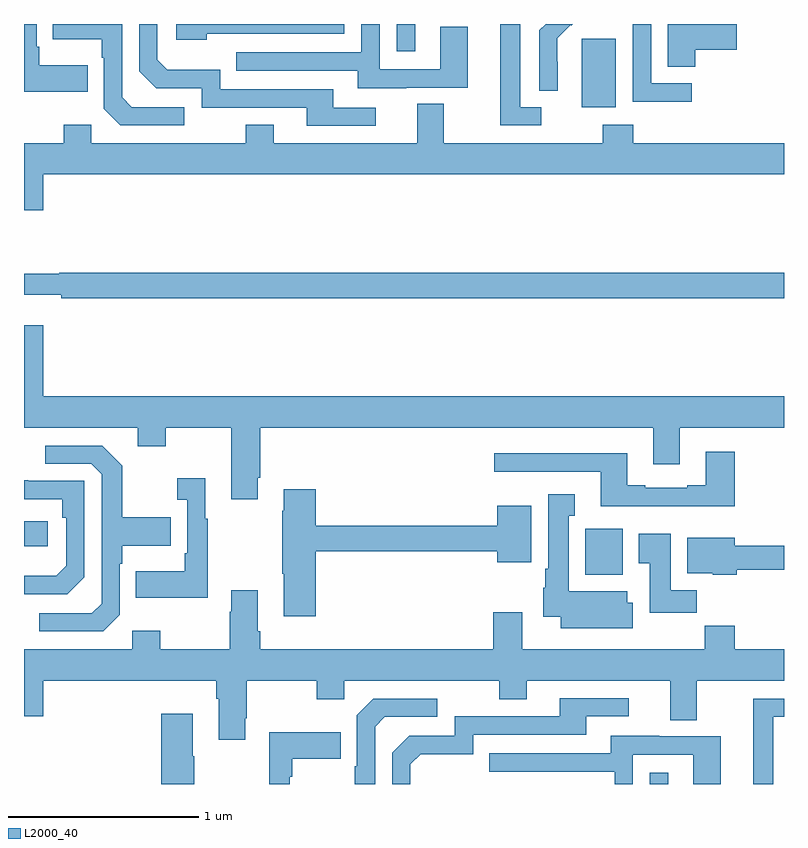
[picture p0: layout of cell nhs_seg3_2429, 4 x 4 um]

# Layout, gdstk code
import gdstk
lib = gdstk.Library(unit=1e-6, precision=1e-09)
def R(c, l, rs):  # rectangles x0, y0, x1, y1
    for r in rs: c.add(gdstk.rectangle(r[:2], r[2:], *l))
def P(c, l, *ps):  # polygons
    for p in ps: c.add(gdstk.Polygon(p, *l))
L2000_40 = (2000, 40)

nhs_seg3_2429 = lib.new_cell('nhs_seg3_2429')
R(nhs_seg3_2429, L2000_40, [(240.294,672.4,240.391,672.46), (239.954,673.502,240.151,673.744), (237,673.652,237.124,673.782), (239.936,675.962,240.115,676.323), (238.962,676.257,239.059,676.4)])
P(nhs_seg3_2429, L2000_40, [(239.722,675.963),(239.611,675.963),(239.611,676.4),(239.507,676.4),(239.507,675.867),(239.722,675.867)],
  [(239.011,676.065),(239.335,676.065),(239.335,676.385),(239.19,676.385),(239.19,676.161),(238.872,676.161),(238.872,676.4),(238.776,676.4),(238.776,676.251),(238.117,676.251),(238.117,676.155),(238.757,676.155),(238.757,676.061),(239.011,676.061)],
  [(237.335,676.183),(237.079,676.183),(237.079,676.279),(237.066,676.279),(237.066,676.4),(237,676.4),(237,676.043),(237.335,676.043)],
  [(240.514,676.089),(240.3,676.089),(240.3,676.4),(240.204,676.4),(240.204,675.991),(240.514,675.991)],
  [(239.808,676.202),(239.807,676.202),(239.807,676.325),(239.877,676.395),(239.88,676.392),(239.888,676.4),(239.746,676.4),(239.712,676.366),(239.712,676.048),(239.808,676.048)],
  [(237.962,676.35),(238.686,676.35),(238.686,676.4),(237.801,676.4),(237.801,676.316),(237.962,676.316)],
  [(238.852,675.96),(238.627,675.96),(238.627,676.056),(238.032,676.056),(238.032,676.159),(237.755,676.159),(237.702,676.212),(237.702,676.4),(237.606,676.4),(237.606,676.152),(237.696,676.062),(237.936,676.062),(237.936,675.96),(238.487,675.96),(238.487,675.864),(238.852,675.864)],
  [(237.844,675.963),(237.567,675.963),(237.516,676.014),(237.516,676.4),(237.151,676.4),(237.151,676.319),(237.408,676.319),(237.408,676.223),(237.42,676.223),(237.42,675.954),(237.507,675.867),(237.844,675.867)],
  [(240.533,676.265),(240.751,676.265),(240.751,676.4),(240.389,676.4),(240.389,676.174),(240.533,676.174)],
  [(237.1,675.608),(241,675.608),(241,675.772),(240.206,675.772),(240.206,675.871),(240.046,675.871),(240.046,675.772),(239.209,675.772),(239.209,675.98),(239.069,675.98),(239.069,675.772),(238.315,675.772),(238.315,675.871),(238.168,675.871),(238.168,675.772),(237.354,675.772),(237.354,675.871),(237.208,675.871),(237.208,675.772),(237,675.772),(237,675.42),(237.1,675.42)],
  [(241,675.092),(237.185,675.092),(237.185,675.085),(237,675.085),(237,674.975),(237.196,674.975),(237.196,674.956),(241,674.956)],
  [(238.231,674.011),(238.244,674.011),(238.244,674.276),(240.311,674.276),(240.311,674.082),(240.451,674.082),(240.451,674.276),(241,674.276),(241,674.44),(237.1,674.44),(237.1,674.815),(237,674.815),(237,674.276),(237.599,674.276),(237.599,674.177),(237.747,674.177),(237.747,674.276),(238.091,674.276),(238.091,673.899),(238.231,673.899)],
  [(237.504,673.29),(237.504,673.559),(237.517,673.559),(237.517,673.655),(237.773,673.655),(237.773,673.803),(237.517,673.803),(237.517,674.075),(237.411,674.181),(237.111,674.181),(237.111,674.085),(237.354,674.085),(237.408,674.031),(237.408,673.35),(237.357,673.299),(237.081,673.299),(237.081,673.203),(237.417,673.203)],
  [(240.74,674.149),(240.587,674.149),(240.587,673.972),(240.491,673.972),(240.491,673.959),(240.271,673.959),(240.271,673.972),(240.175,673.972),(240.175,674.14),(239.475,674.14),(239.475,674.043),(240.035,674.043),(240.035,673.862),(240.74,673.862)],
  [(237.967,673.795),(237.955,673.795),(237.955,674.008),(237.807,674.008),(237.807,673.895),(237.858,673.895),(237.858,673.615),(237.846,673.615),(237.846,673.519),(237.589,673.519),(237.589,673.379),(237.967,673.379)],
  [(237.318,673.488),(237.318,673.995),(237.023,673.995),(237.023,674),(237,674),(237,673.899),(237.202,673.899),(237.202,673.802),(237.222,673.802),(237.222,673.548),(237.169,673.495),(237,673.495),(237,673.398),(237.228,673.398)],
  [(238.535,673.624),(239.492,673.624),(239.492,673.568),(239.671,673.568),(239.671,673.864),(239.492,673.864),(239.492,673.76),(238.535,673.76),(238.535,673.951),(238.367,673.951),(238.367,673.838),(238.36,673.838),(238.36,673.507),(238.367,673.507),(238.367,673.284),(238.535,673.284)],
  [(240.205,673.355),(240.175,673.355),(240.175,673.414),(239.866,673.414),(239.866,673.811),(239.899,673.811),(239.899,673.924),(239.759,673.924),(239.759,673.534),(239.744,673.534),(239.744,673.434),(239.732,673.434),(239.732,673.28),(239.825,673.28),(239.825,673.22),(240.205,673.22)],
  [(240.542,673.42),(240.403,673.42),(240.403,673.717),(240.236,673.717),(240.236,673.561),(240.293,673.561),(240.293,673.302),(240.542,673.302)],
  [(240.75,673.527),(241,673.527),(241,673.655),(240.742,673.655),(240.742,673.696),(240.491,673.696),(240.491,673.508),(240.624,673.508),(240.624,673.502),(240.75,673.502)],
  [(238.165,672.745),(238.173,672.745),(238.173,672.944),(238.54,672.944),(238.54,672.845),(238.686,672.845),(238.686,672.944),(239.5,672.944),(239.5,672.845),(239.647,672.845),(239.647,672.944),(240.401,672.944),(240.401,672.736),(240.541,672.736),(240.541,672.944),(241,672.944),(241,673.108),(240.74,673.108),(240.74,673.232),(240.583,673.232),(240.583,673.108),(239.623,673.108),(239.623,673.303),(239.471,673.303),(239.471,673.108),(238.244,673.108),(238.244,673.204),(238.231,673.204),(238.231,673.42),(238.091,673.42),(238.091,673.307),(238.084,673.307),(238.084,673.108),(237.717,673.108),(237.717,673.207),(237.57,673.207),(237.57,673.108),(237,673.108),(237,672.756),(237.1,672.756),(237.1,672.944),(238.013,672.944),(238.013,672.848),(238.025,672.848),(238.025,672.633),(238.165,672.633)],
  [(239.034,672.504),(239.087,672.557),(239.364,672.557),(239.364,672.66),(239.959,672.66),(239.959,672.756),(240.184,672.756),(240.184,672.852),(239.819,672.852),(239.819,672.756),(239.268,672.756),(239.268,672.654),(239.028,672.654),(238.938,672.564),(238.938,672.4),(239.034,672.4)],
  [(238.848,672.702),(238.899,672.753),(239.176,672.753),(239.176,672.849),(238.839,672.849),(238.752,672.762),(238.752,672.493),(238.74,672.493),(238.74,672.4),(238.848,672.4)],
  [(240.943,672.753),(241,672.753),(241,672.849),(240.839,672.849),(240.839,672.4),(240.943,672.4)],
  [(237.897,672.545),(237.889,672.545),(237.889,672.769),(237.722,672.769),(237.722,672.4),(237.897,672.4)],
  [(238.398,672.437),(238.411,672.437),(238.411,672.533),(238.667,672.533),(238.667,672.673),(238.29,672.673),(238.29,672.4),(238.398,672.4)],
  [(240.204,672.555),(240.522,672.555),(240.522,672.4),(240.667,672.4),(240.667,672.651),(240.343,672.651),(240.343,672.655),(240.089,672.655),(240.089,672.561),(239.449,672.561),(239.449,672.465),(240.108,672.465),(240.108,672.4),(240.204,672.4)])

lib.write_gds('nhs_seg3_2429.gds')
